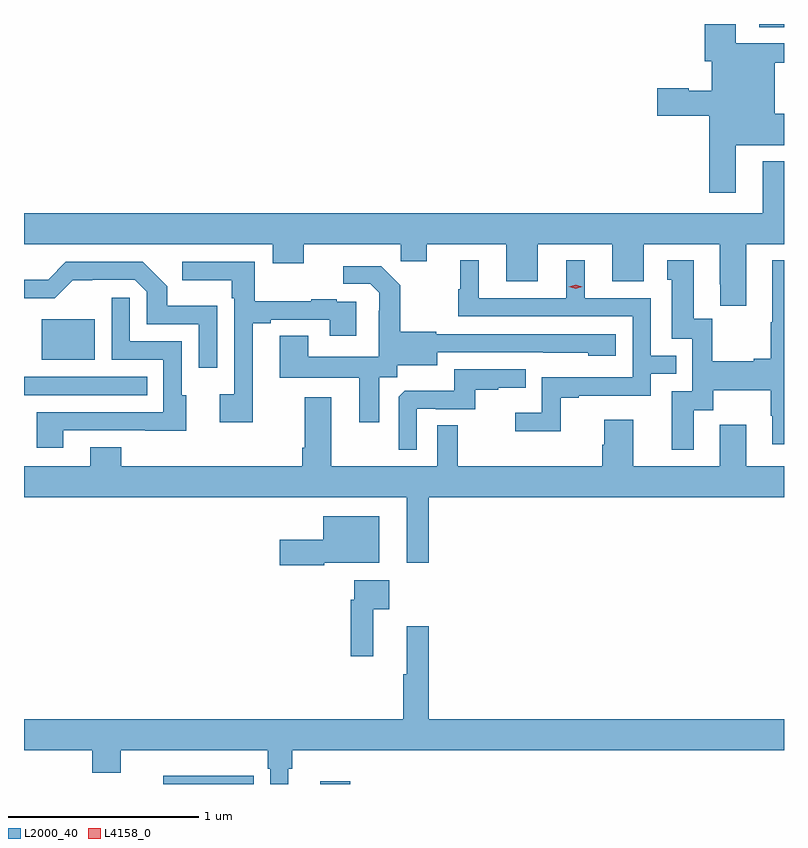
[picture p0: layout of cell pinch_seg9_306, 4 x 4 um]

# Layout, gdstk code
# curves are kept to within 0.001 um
import gdstk
lib = gdstk.Library(unit=1e-6, precision=1e-09)
def R(c, l, rs):  # rectangles x0, y0, x1, y1
    for r in rs: c.add(gdstk.rectangle(r[:2], r[2:], *l))
def P(c, l, *ps):  # polygons
    for p in ps: c.add(gdstk.Polygon(p, *l))
L2000_40 = (2000, 40)
L4158_0 = (4158, 0)

pinch_seg9_306 = lib.new_cell('pinch_seg9_306')
R(pinch_seg9_306, L2000_40, [(574.928,1185.587,575.087,1185.601), (573.37,1187.634,574.019,1187.73), (573.464,1187.819,573.742,1188.034), (577.241,1189.57,577.37,1189.587)])
P(pinch_seg9_306, L2000_40, [(577.117,1188.95),(577.37,1188.95),(577.37,1189.114),(577.321,1189.114),(577.321,1189.384),(577.37,1189.384),(577.37,1189.485),(577.117,1189.485),(577.117,1189.587),(576.953,1189.587),(576.953,1189.392),(576.989,1189.392),(576.989,1189.237),(576.869,1189.237),(576.869,1189.25),(576.702,1189.25),(576.702,1189.103),(576.977,1189.103),(576.977,1188.699),(577.117,1188.699)],
  [(577.171,1188.428),(577.37,1188.428),(577.37,1188.865),(577.259,1188.865),(577.259,1188.592),(573.37,1188.592),(573.37,1188.428),(574.679,1188.428),(574.679,1188.329),(574.843,1188.329),(574.843,1188.428),(575.353,1188.428),(575.353,1188.338),(575.491,1188.338),(575.491,1188.428),(575.909,1188.428),(575.909,1188.234),(576.073,1188.234),(576.073,1188.428),(576.467,1188.428),(576.467,1188.234),(576.631,1188.234),(576.631,1188.428),(577.031,1188.428),(577.031,1188.217),(577.034,1188.217),(577.034,1188.105),(577.171,1188.105)],
  [(576.195,1187.619),(576.289,1187.619),(576.289,1187.631),(576.669,1187.631),(576.669,1187.745),(576.803,1187.745),(576.803,1187.841),(576.669,1187.841),(576.669,1188.144),(576.322,1188.144),(576.322,1188.343),(576.224,1188.343),(576.224,1188.144),(575.764,1188.144),(575.764,1188.343),(575.666,1188.343),(575.666,1188.192),(575.655,1188.192),(575.655,1188.048),(576.573,1188.048),(576.573,1187.727),(576.096,1187.727),(576.096,1187.542),(575.955,1187.542),(575.955,1187.444),(576.195,1187.444)],
  [(576.895,1187.554),(576.997,1187.554),(576.997,1187.66),(577.3,1187.66),(577.3,1187.526),(577.307,1187.526),(577.307,1187.376),(577.37,1187.376),(577.37,1188.343),(577.307,1188.343),(577.307,1188.017),(577.3,1188.017),(577.3,1187.825),(577.211,1187.825),(577.211,1187.812),(576.993,1187.812),(576.993,1188.035),(576.895,1188.035),(576.895,1188.343),(576.755,1188.343),(576.755,1188.24),(576.779,1188.24),(576.779,1187.931),(576.888,1187.931),(576.888,1187.655),(576.779,1187.655),(576.779,1187.346),(576.895,1187.346)],
  [(574.573,1188.012),(574.669,1188.012),(574.669,1188.03),(574.979,1188.03),(574.979,1187.946),(575.119,1187.946),(575.119,1188.126),(575.015,1188.126),(575.015,1188.139),(574.883,1188.139),(574.883,1188.128),(574.585,1188.128),(574.585,1188.336),(574.203,1188.336),(574.203,1188.239),(574.464,1188.239),(574.464,1188.143),(574.476,1188.143),(574.476,1187.638),(574.401,1187.638),(574.401,1187.49),(574.573,1187.49)],
  [(574.386,1188.103),(574.125,1188.103),(574.125,1188.206),(573.994,1188.336),(573.591,1188.336),(573.497,1188.242),(573.37,1188.242),(573.37,1188.144),(573.531,1188.144),(573.626,1188.239),(573.954,1188.24),(574.017,1188.177),(574.017,1188.006),(574.29,1188.006),(574.29,1187.778),(574.386,1187.778)],
  [(575.239,1187.728),(575.334,1187.728),(575.334,1187.792),(575.545,1187.792),(575.545,1187.859),(576.339,1187.858),(576.339,1187.84),(576.484,1187.84),(576.484,1187.955),(575.541,1187.955),(575.541,1187.968),(575.349,1187.968),(575.349,1188.213),(575.249,1188.313),(575.049,1188.313),(575.049,1188.219),(575.193,1188.219),(575.24,1188.172),(575.24,1188.077),(575.238,1188.077),(575.238,1187.836),(574.867,1187.836),(574.867,1187.945),(574.715,1187.945),(574.715,1187.726),(575.135,1187.726),(575.135,1187.49),(575.239,1187.49)],
  [(573.577,1187.448),(574.007,1187.448),(574.007,1187.447),(574.225,1187.447),(574.225,1187.634),(574.2,1187.634),(574.2,1187.916),(573.927,1187.916),(573.927,1188.145),(573.831,1188.145),(573.831,1187.82),(574.104,1187.82),(574.104,1187.544),(573.437,1187.544),(573.437,1187.358),(573.577,1187.358)],
  [(575.436,1187.562),(575.536,1187.562),(575.536,1187.559),(575.744,1187.559),(575.744,1187.661),(575.867,1187.661),(575.867,1187.672),(576.011,1187.672),(576.011,1187.769),(575.634,1187.769),(575.634,1187.657),(575.375,1187.657),(575.343,1187.625),(575.343,1187.345),(575.436,1187.345)],
  [(575.501,1187.096),(577.37,1187.096),(577.37,1187.26),(577.171,1187.26),(577.171,1187.479),(577.031,1187.479),(577.031,1187.26),(576.577,1187.26),(576.577,1187.503),(576.425,1187.503),(576.425,1187.373),(576.413,1187.373),(576.413,1187.26),(575.653,1187.26),(575.653,1187.474),(575.544,1187.474),(575.544,1187.26),(574.987,1187.26),(574.987,1187.623),(574.847,1187.623),(574.847,1187.356),(574.835,1187.356),(574.835,1187.26),(573.883,1187.26),(573.883,1187.359),(573.719,1187.359),(573.719,1187.26),(573.37,1187.26),(573.37,1187.096),(575.384,1187.096),(575.384,1186.752),(575.501,1186.752)],
  [(574.95,1186.751),(575.239,1186.751),(575.239,1186.996),(574.946,1186.996),(574.946,1186.873),(574.716,1186.873),(574.716,1186.739),(574.95,1186.739)],
  [(575.207,1186.508),(575.293,1186.508),(575.293,1186.66),(575.109,1186.66),(575.109,1186.556),(575.089,1186.556),(575.089,1186.26),(575.207,1186.26)],
  [(573.37,1185.764),(573.728,1185.764),(573.728,1185.647),(573.88,1185.647),(573.88,1185.764),(574.652,1185.764),(574.652,1185.668),(574.665,1185.668),(574.665,1185.587),(574.762,1185.587),(574.762,1185.668),(574.781,1185.668),(574.781,1185.764),(577.37,1185.764),(577.37,1185.928),(575.501,1185.928),(575.501,1186.417),(575.384,1186.417),(575.384,1186.164),(575.365,1186.164),(575.365,1185.928),(573.37,1185.928)],
  [(574.58,1185.63),(574.472,1185.63),(574.472,1185.631),(574.104,1185.631),(574.104,1185.587),(574.58,1185.587)])
P(pinch_seg9_306, L4158_0, [(576.273,1188.194),(576.238,1188.204),(576.237,1188.204),(576.238,1188.205),(576.273,1188.214),(576.308,1188.205),(576.309,1188.204),(576.308,1188.204)])

lib.write_gds('pinch_seg9_306.gds')
